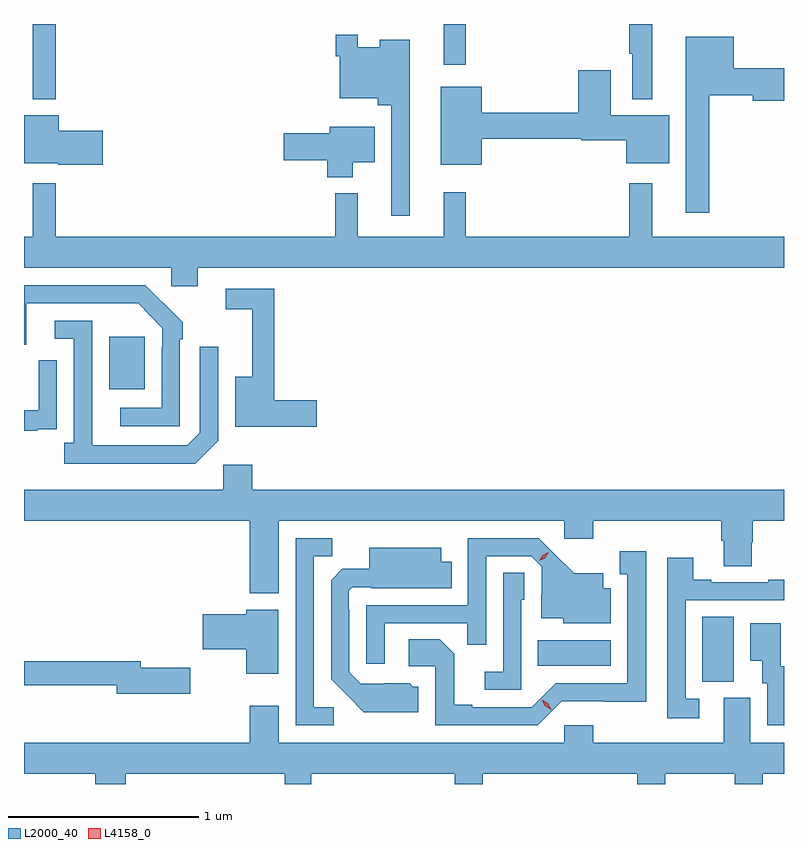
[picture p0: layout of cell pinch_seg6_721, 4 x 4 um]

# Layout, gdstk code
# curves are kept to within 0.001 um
import gdstk
lib = gdstk.Library(unit=1e-6, precision=1e-09)
def R(c, l, rs):  # rectangles x0, y0, x1, y1
    for r in rs: c.add(gdstk.rectangle(r[:2], r[2:], *l))
def P(c, l, *ps):  # polygons
    for p in ps: c.add(gdstk.Polygon(p, *l))
L2000_40 = (2000, 40)
L4158_0 = (4158, 0)

pinch_seg6_721 = lib.new_cell('pinch_seg6_721')
R(pinch_seg6_721, L2000_40, [(619.754,937.165,619.918,937.508), (618.886,937.25,619.27,937.384), (616.631,938.705,616.819,938.98), (616.229,940.232,616.351,940.627), (618.392,940.413,618.509,940.627)])
P(pinch_seg6_721, L2000_40, [(619.489,940.627),(619.368,940.627),(619.368,940.471),(619.385,940.471),(619.385,940.232),(619.489,940.232)],
  [(618.214,940.543),(618.056,940.543),(618.056,940.504),(617.94,940.504),(617.94,940.57),(617.824,940.57),(617.824,940.457),(617.844,940.457),(617.844,940.235),(618.044,940.235),(618.044,940.199),(618.117,940.199),(618.117,939.618),(618.214,939.618)],
  [(619.789,940.253),(620.018,940.253),(620.018,940.223),(620.183,940.223),(620.183,940.393),(619.918,940.393),(619.918,940.561),(619.667,940.561),(619.667,939.633),(619.789,939.633)],
  [(618.592,940.024),(619.116,940.024),(619.116,940.016),(619.352,940.016),(619.352,939.893),(619.579,939.893),(619.579,940.147),(619.27,940.147),(619.27,940.384),(619.1,940.384),(619.1,940.16),(618.592,940.16),(618.592,940.297),(618.377,940.297),(618.377,939.887),(618.592,939.887)],
  [(616.597,940.064),(616.366,940.064),(616.366,940.147),(616.183,940.147),(616.183,939.893),(616.362,939.893),(616.362,939.886),(616.597,939.886)],
  [(617.914,939.899),(618.028,939.899),(618.028,940.087),(617.792,940.087),(617.792,940.052),(617.55,940.052),(617.55,939.91),(617.78,939.91),(617.78,939.821),(617.914,939.821)],
  [(617.098,939.344),(620.183,939.344),(620.183,939.508),(619.489,939.508),(619.489,939.79),(619.368,939.79),(619.368,939.508),(618.509,939.508),(618.509,939.742),(618.392,939.742),(618.392,939.508),(617.939,939.508),(617.939,939.736),(617.821,939.736),(617.821,939.508),(616.351,939.508),(616.351,939.79),(616.229,939.79),(616.229,939.508),(616.183,939.508),(616.183,939.344),(616.959,939.344),(616.959,939.246),(617.098,939.246)],
  [(617.004,938.969),(617.019,938.969),(617.019,939.057),(616.822,939.252),(616.183,939.252),(616.183,938.94),(616.195,938.94),(616.195,939.156),(616.783,939.156),(616.911,939.027),(616.911,938.927),(616.908,938.927),(616.908,938.607),(616.689,938.607),(616.689,938.511),(617.004,938.511)],
  [(617.725,938.648),(617.501,938.648),(617.501,939.234),(617.244,939.234),(617.244,939.126),(617.384,939.126),(617.384,938.77),(617.294,938.77),(617.294,938.506),(617.725,938.506)],
  [(617.205,938.433),(617.205,938.929),(617.109,938.929),(617.109,938.475),(617.043,938.409),(616.543,938.409),(616.542,939.066),(616.344,939.066),(616.344,938.97),(616.446,938.97),(616.446,938.422),(616.395,938.422),(616.395,938.312),(617.084,938.312)],
  [(616.253,938.493),(616.355,938.493),(616.355,938.602),(616.356,938.602),(616.356,938.857),(616.26,938.857),(616.26,938.595),(616.183,938.595),(616.183,938.487),(616.253,938.487)],
  [(617.524,938.012),(619.026,938.012),(619.026,937.917),(619.178,937.917),(619.178,938.012),(619.853,938.012),(619.853,937.906),(619.865,937.906),(619.865,937.774),(620.013,937.774),(620.013,937.899),(620.018,937.899),(620.018,938.012),(620.183,938.012),(620.183,938.176),(617.384,938.176),(617.384,938.308),(617.232,938.308),(617.232,938.176),(616.183,938.176),(616.183,938.012),(617.372,938.012),(617.372,937.632),(617.524,937.632)],
  [(617.812,937.032),(617.709,937.032),(617.709,937.825),(617.805,937.825),(617.805,937.92),(617.613,937.92),(617.613,936.936),(617.812,936.936)],
  [(618.081,937.473),(618.517,937.473),(618.517,937.36),(618.615,937.36),(618.615,937.827),(618.852,937.827),(618.909,937.77),(618.909,937.628),(618.905,937.628),(618.905,937.499),(619.02,937.499),(619.02,937.472),(619.27,937.472),(619.27,937.657),(619.231,937.657),(619.231,937.735),(619.079,937.735),(618.892,937.92),(618.519,937.92),(618.519,937.569),(617.985,937.569),(617.985,937.26),(618.081,937.26)],
  [(618.259,937.14),(618.228,937.14),(618.212,937.156),(617.955,937.155),(617.895,937.215),(617.895,937.544),(617.892,937.544),(617.892,937.644),(617.91,937.662),(618.01,937.662),(618.01,937.658),(618.434,937.658),(618.434,937.798),(618.379,937.798),(618.379,937.87),(617.999,937.87),(617.999,937.759),(617.858,937.759),(617.799,937.7),(617.799,937.178),(617.971,937.004),(618.259,937.004)],
  [(619.014,937.062),(619.459,937.061),(619.459,937.852),(619.319,937.852),(619.319,937.731),(619.358,937.731),(619.358,937.158),(618.981,937.158),(618.855,937.032),(618.541,937.032),(618.541,937.045),(618.447,937.045),(618.447,937.312),(618.371,937.388),(618.207,937.388),(618.207,937.248),(618.348,937.248),(618.348,936.936),(618.888,936.936)],
  [(619.738,937.077),(619.665,937.077),(619.665,937.593),(620.183,937.593),(620.183,937.702),(620.101,937.702),(620.101,937.689),(619.801,937.689),(619.801,937.702),(619.705,937.702),(619.705,937.819),(619.569,937.819),(619.569,936.972),(619.738,936.972)],
  [(618.801,937.596),(618.816,937.596),(618.816,937.739),(618.705,937.739),(618.705,937.219),(618.609,937.219),(618.609,937.122),(618.801,937.122)],
  [(617.521,937.543),(617.354,937.543),(617.354,937.52),(617.124,937.52),(617.124,937.337),(617.354,937.337),(617.354,937.206),(617.521,937.206)],
  [(620.183,937.248),(620.167,937.248),(620.167,937.474),(620.006,937.474),(620.006,937.277),(620.069,937.277),(620.069,937.158),(620.094,937.158),(620.094,936.936),(620.183,936.936)],
  [(617.059,937.238),(616.798,937.238),(616.798,937.274),(616.183,937.274),(616.183,937.146),(616.67,937.146),(616.67,937.103),(617.059,937.103)],
  [(616.719,936.68),(617.555,936.68),(617.555,936.627),(617.695,936.627),(617.695,936.68),(618.449,936.68),(618.449,936.627),(618.597,936.627),(618.597,936.68),(619.41,936.68),(619.41,936.627),(619.557,936.627),(619.557,936.68),(619.924,936.68),(619.924,936.627),(620.071,936.627),(620.071,936.68),(620.183,936.68),(620.183,936.844),(620.005,936.844),(620.005,937.08),(619.865,937.08),(619.865,936.844),(619.178,936.844),(619.178,936.937),(619.026,936.937),(619.026,936.844),(617.524,936.844),(617.524,937.039),(617.372,937.039),(617.372,936.844),(616.183,936.844),(616.183,936.68),(616.559,936.68),(616.559,936.627),(616.719,936.627)])
P(pinch_seg6_721, L4158_0, [(618.957,937.019),(618.925,937.038),(618.907,937.071),(618.907,937.071),(618.908,937.071),(618.939,937.052),(618.957,937.02),(618.957,937.019)],
  [(618.894,937.801),(618.894,937.802),(618.912,937.831),(618.942,937.846),(618.943,937.846),(618.943,937.845),(618.925,937.816),(618.894,937.801)])

lib.write_gds('pinch_seg6_721.gds')
